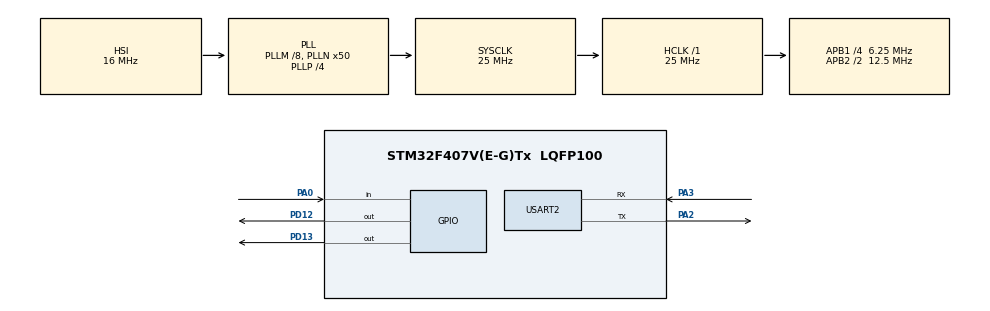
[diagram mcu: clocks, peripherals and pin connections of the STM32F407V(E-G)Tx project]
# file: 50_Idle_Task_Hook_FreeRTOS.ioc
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FREERTOS.Tasks01=defaultTask,0,128,StartDefaultTask,Default,NULL,Dynamic,NULL,NULL
Mcu.Family=STM32F4
Mcu.Name=STM32F407V(E-G)Tx
Mcu.Package=LQFP100
NVIC.PriorityGroup=NVIC_PRIORITYGROUP_4
PA0-WKUP.Signal=GPIO_Input
PA2.Mode=Asynchronous
PA2.Signal=USART2_TX
PA3.Mode=Asynchronous
PA3.Signal=USART2_RX
PD12.Signal=GPIO_Output
PD13.Signal=GPIO_Output
ProjectManager.HeapSize=0x200
ProjectManager.StackSize=0x400
ProjectManager.TargetToolchain=STM32CubeIDE
RCC.48MHZClocksFreq_Value=14285714.285714285
RCC.AHBFreq_Value=25000000
RCC.APB1CLKDivider=RCC_HCLK_DIV4
RCC.APB1Freq_Value=6250000
RCC.APB1TimFreq_Value=12500000
RCC.APB2CLKDivider=RCC_HCLK_DIV2
RCC.APB2Freq_Value=12500000
RCC.APB2TimFreq_Value=25000000
RCC.CortexFreq_Value=25000000
RCC.HCLKFreq_Value=25000000
RCC.HSE_VALUE=8000000
RCC.HSI_VALUE=16000000
RCC.PLLM=8
RCC.PLLN=50
RCC.PLLP=RCC_PLLP_DIV4
RCC.PLLQ=7
RCC.SYSCLKFreq_VALUE=25000000
RCC.SYSCLKSource=RCC_SYSCLKSOURCE_PLLCLK
RCC.VCOOutputFreq_Value=100000000
USART2.VirtualMode=VM_ASYNC
VP_FREERTOS_VS_CMSIS_V1.Mode=CMSIS_V1
board=STM32F407G-DISC1

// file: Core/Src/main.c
/* USER CODE BEGIN Header */
/**
  ******************************************************************************
  * @file           : main.c
  * @brief          : Main program body
  ******************************************************************************
  * @attention
  *
  * Copyright (c) 2026 STMicroelectronics.
  * All rights reserved.
  *
  * This software is licensed under terms that can be found in the LICENSE file
  * in the root directory of this software component.
  * If no LICENSE file comes with this software, it is provided AS-IS.
  *
  ******************************************************************************
  */
/* USER CODE END Header */
#include "main.h"
#include "cmsis_os.h"
#include "FreeRTOS.h"
#include "task.h"
#include <stdio.h>
#include <string.h>

UART_HandleTypeDef huart2;

osThreadId defaultTaskHandle;

void SystemClock_Config(void);
static void MX_GPIO_Init(void);
static void MX_USART2_UART_Init(void);
void StartDefaultTask(void const * argument);

/* USER CODE BEGIN 0 */
TaskHandle_t xTaskHandle1 = NULL;
TaskHandle_t xTaskHandle2 = NULL;

char user_msg[100];

void Task1_Handler(void *params);
void Task2_Handler(void *params);

void printmsg(char *msg)
{
	for(uint32_t i = 0; i < strlen(msg); i++)
	{
		HAL_UART_Transmit(&huart2,(uint8_t*)&msg[i],1,100);
	}
}
/* USER CODE END 0 */

int main(void)
{

  /* MCU Configuration--------------------------------------------------------*/

  /* Reset of all peripherals, Initializes the Flash interface and the Systick. */
  HAL_Init();

  /* Configure the system clock */
  SystemClock_Config();

  /* Initialize all configured peripherals */
  MX_GPIO_Init();
  MX_USART2_UART_Init();
  /* USER CODE BEGIN 2 */
  sprintf(user_msg,"Idle Task Hook Demo\r\n");
  printmsg(user_msg);
  /* USER CODE END 2 */

  /* Create the thread(s) */
  /* definition and creation of defaultTask */
  osThreadDef(defaultTask, StartDefaultTask, osPriorityNormal, 0, 128);
  defaultTaskHandle = osThreadCreate(osThread(defaultTask), NULL);

  /* USER CODE BEGIN RTOS_THREADS */
  /* add threads, ... */

  xTaskCreate(Task1_Handler,
              "TASK1",
              500,
              NULL,
              1,
              &xTaskHandle1);

  xTaskCreate(Task2_Handler,
              "TASK2",
              500,
              NULL,
              2,
              &xTaskHandle2);
  /* USER CODE END RTOS_THREADS */

  /* Start scheduler */
  osKernelStart();

  /* We should never get here as control is now taken by the scheduler */

  /* Infinite loop */
  while (1)
  {

  }
}

void SystemClock_Config(void)
{
  RCC_OscInitTypeDef RCC_OscInitStruct = {0};
  RCC_ClkInitTypeDef RCC_ClkInitStruct = {0};

  /** Configure the main internal regulator output voltage
  */
  __HAL_RCC_PWR_CLK_ENABLE();
  __HAL_PWR_VOLTAGESCALING_CONFIG(PWR_REGULATOR_VOLTAGE_SCALE1);

  /** Initializes the RCC Oscillators according to the specified parameters
  * in the RCC_OscInitTypeDef structure.
  */
  RCC_OscInitStruct.OscillatorType = RCC_OSCILLATORTYPE_HSI;
  RCC_OscInitStruct.HSIState = RCC_HSI_ON;
  RCC_OscInitStruct.HSICalibrationValue = RCC_HSICALIBRATION_DEFAULT;
  RCC_OscInitStruct.PLL.PLLState = RCC_PLL_ON;
  RCC_OscInitStruct.PLL.PLLSource = RCC_PLLSOURCE_HSI;
  RCC_OscInitStruct.PLL.PLLM = 8;
  RCC_OscInitStruct.PLL.PLLN = 50;
  RCC_OscInitStruct.PLL.PLLP = RCC_PLLP_DIV4;
  RCC_OscInitStruct.PLL.PLLQ = 7;
  if (HAL_RCC_OscConfig(&RCC_OscInitStruct) != HAL_OK)
  {
    Error_Handler();
  }

  /** Initializes the CPU, AHB and APB buses clocks
  */
  RCC_ClkInitStruct.ClockType = RCC_CLOCKTYPE_HCLK|RCC_CLOCKTYPE_SYSCLK
                              |RCC_CLOCKTYPE_PCLK1|RCC_CLOCKTYPE_PCLK2;
  RCC_ClkInitStruct.SYSCLKSource = RCC_SYSCLKSOURCE_PLLCLK;
  RCC_ClkInitStruct.AHBCLKDivider = RCC_SYSCLK_DIV1;
  RCC_ClkInitStruct.APB1CLKDivider = RCC_HCLK_DIV4;
  RCC_ClkInitStruct.APB2CLKDivider = RCC_HCLK_DIV2;

  if (HAL_RCC_ClockConfig(&RCC_ClkInitStruct, FLASH_LATENCY_0) != HAL_OK)
  {
    Error_Handler();
  }
}

static void MX_USART2_UART_Init(void)
{

  huart2.Instance = USART2;
  huart2.Init.BaudRate = 115200;
  huart2.Init.WordLength = UART_WORDLENGTH_8B;
  huart2.Init.StopBits = UART_STOPBITS_1;
  huart2.Init.Parity = UART_PARITY_NONE;
  huart2.Init.Mode = UART_MODE_TX_RX;
  huart2.Init.HwFlowCtl = UART_HWCONTROL_NONE;
  huart2.Init.OverSampling = UART_OVERSAMPLING_16;
  if (HAL_UART_Init(&huart2) != HAL_OK)
  {
    Error_Handler();
  }

}

static void MX_GPIO_Init(void)
{
  GPIO_InitTypeDef GPIO_InitStruct = {0};

  /* GPIO Ports Clock Enable */
  __HAL_RCC_GPIOA_CLK_ENABLE();
  __HAL_RCC_GPIOD_CLK_ENABLE();

  /*Configure GPIO pin Output Level */
  HAL_GPIO_WritePin(GPIOD, GPIO_PIN_12|GPIO_PIN_13, GPIO_PIN_RESET);

  /*Configure GPIO pin : PA0 */
  GPIO_InitStruct.Pin = GPIO_PIN_0;
  GPIO_InitStruct.Mode = GPIO_MODE_INPUT;
  GPIO_InitStruct.Pull = GPIO_NOPULL;
  HAL_GPIO_Init(GPIOA, &GPIO_InitStruct);

  /*Configure GPIO pins : PD12 PD13 */
  GPIO_InitStruct.Pin = GPIO_PIN_12|GPIO_PIN_13;
  GPIO_InitStruct.Mode = GPIO_MODE_OUTPUT_PP;
  GPIO_InitStruct.Pull = GPIO_NOPULL;
  GPIO_InitStruct.Speed = GPIO_SPEED_FREQ_LOW;
  HAL_GPIO_Init(GPIOD, &GPIO_InitStruct);

}

/* USER CODE BEGIN 4 */

void Task1_Handler(void *params)
{
	while(1)
	{
		sprintf(user_msg,
				"Status of the LED is %d\r\n",
				HAL_GPIO_ReadPin(GPIOD,GPIO_PIN_12));

		printmsg(user_msg);

		vTaskDelay(pdMS_TO_TICKS(1000));
	}
}

void Task2_Handler(void *params)
{
	while(1)
	{
		HAL_GPIO_TogglePin(GPIOD,GPIO_PIN_12);

		vTaskDelay(pdMS_TO_TICKS(1000));
	}
}

void vApplicationIdleHook(void)
{
HAL_GPIO_TogglePin(GPIOD,GPIO_PIN_13);
HAL_Delay(100);

	__WFI();
}
/* USER CODE END 4 */

//void StartDefaultTask(void const * argument)
//{
//  /* USER CODE BEGIN 5 */
//  /* Infinite loop */
//  for(;;)
//  {
//    osDelay(1);
//  }
//  /* USER CODE END 5 */
//}

void StartDefaultTask(void const * argument)
{
	vTaskDelete(NULL);
}

void Error_Handler(void)
{
  __disable_irq();
  while (1)
  {
  }
}
